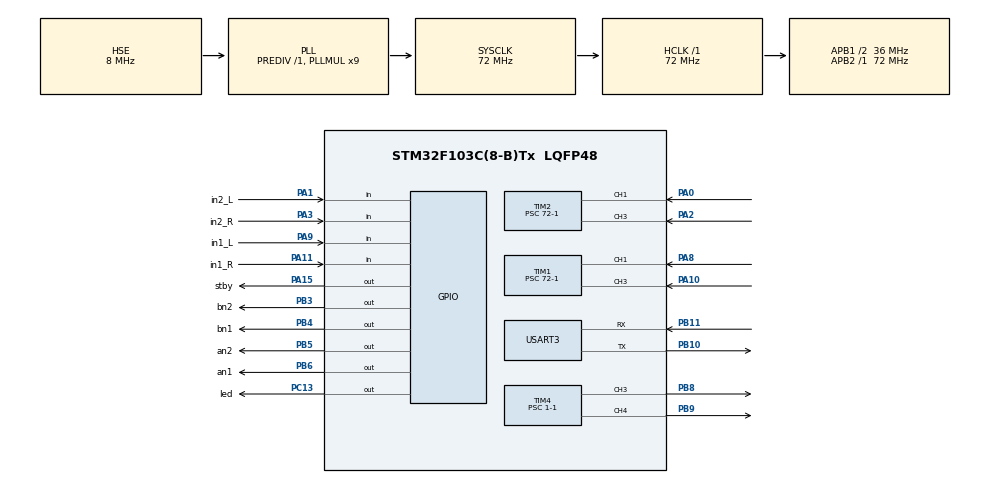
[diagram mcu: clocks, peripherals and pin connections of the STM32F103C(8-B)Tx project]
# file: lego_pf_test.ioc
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Mcu.Family=STM32F1
Mcu.Name=STM32F103C(8-B)Tx
Mcu.Package=LQFP48
NVIC.PriorityGroup=NVIC_PRIORITYGROUP_4
NVIC.TIM1_CC_IRQn=true\:0\:0\:false\:false\:true\:true\:true\:true
NVIC.TIM2_IRQn=true\:0\:0\:false\:false\:true\:true\:true\:true
NVIC.USART3_IRQn=true\:0\:0\:false\:false\:true\:true\:true\:true
PA0-WKUP.Signal=S_TIM2_CH1_ETR
PA1.GPIO_Label=in2_L
PA1.Signal=GPIO_Input
PA10.Signal=S_TIM1_CH3
PA11.GPIO_Label=in1_R
PA11.Signal=GPIO_Input
PA13.Mode=Serial_Wire
PA13.Signal=SYS_JTMS-SWDIO
PA14.Mode=Serial_Wire
PA14.Signal=SYS_JTCK-SWCLK
PA15.GPIO_Label=stby
PA15.Signal=GPIO_Output
PA2.Signal=S_TIM2_CH3
PA3.GPIO_Label=in2_R
PA3.Signal=GPIO_Input
PA8.Signal=S_TIM1_CH1
PA9.GPIO_Label=in1_L
PA9.Signal=GPIO_Input
PB10.Mode=Asynchronous
PB10.Signal=USART3_TX
PB11.Mode=Asynchronous
PB11.Signal=USART3_RX
PB3.GPIO_Label=bn2
PB3.Signal=GPIO_Output
PB4.GPIO_Label=bn1
PB4.Signal=GPIO_Output
PB5.GPIO_Label=an2
PB5.Signal=GPIO_Output
PB6.GPIO_Label=an1
PB6.Signal=GPIO_Output
PB8.Signal=S_TIM4_CH3
PB9.Signal=S_TIM4_CH4
PC13-TAMPER-RTC.GPIO_Label=led
PC13-TAMPER-RTC.Signal=GPIO_Output
PD0-OSC_IN.Mode=HSE-External-Oscillator
PD0-OSC_IN.Signal=RCC_OSC_IN
PD1-OSC_OUT.Mode=HSE-External-Oscillator
PD1-OSC_OUT.Signal=RCC_OSC_OUT
ProjectManager.HeapSize=0x200
ProjectManager.StackSize=0x400
ProjectManager.TargetToolchain=STM32CubeIDE
RCC.ADCPresc=RCC_ADCPCLK2_DIV6
RCC.AHBFreq_Value=72000000
RCC.APB1CLKDivider=RCC_HCLK_DIV2
RCC.APB1Freq_Value=36000000
RCC.APB1TimFreq_Value=72000000
RCC.APB2Freq_Value=72000000
RCC.APB2TimFreq_Value=72000000
RCC.HCLKFreq_Value=72000000
RCC.PLLMUL=RCC_PLL_MUL9
RCC.PLLSourceVirtual=RCC_PLLSOURCE_HSE
RCC.RCC_MCOSource=RCC_MCO1SOURCE_HSE
RCC.SYSCLKFreq_VALUE=72000000
RCC.SYSCLKSource=RCC_SYSCLKSOURCE_PLLCLK
RCC.USBFreq_Value=72000000
SH.S_TIM1_CH1.0=TIM1_CH1,Input_Capture1_from_TI1
SH.S_TIM1_CH3.0=TIM1_CH3,Input_Capture3_from_TI3
SH.S_TIM2_CH1_ETR.0=TIM2_CH1,Input_Capture1_from_TI1
SH.S_TIM2_CH3.0=TIM2_CH3,Input_Capture3_from_TI3
SH.S_TIM4_CH3.0=TIM4_CH3,PWM Generation3 CH3
SH.S_TIM4_CH4.0=TIM4_CH4,PWM Generation4 CH4
TIM1.Channel-Input_Capture1_from_TI1=TIM_CHANNEL_1
TIM1.Channel-Input_Capture2_from_TI1_63=TIM_CHANNEL_2
TIM1.Channel-Input_Capture3_from_TI3=TIM_CHANNEL_3
TIM1.Channel-Input_Capture4_from_TI3_63=TIM_CHANNEL_4
TIM1.ClockDivision=TIM_CLOCKDIVISION_DIV4
TIM1.ICFilter_CH1=15
TIM1.ICFilter_CH3=15
TIM1.ICPolarity_CH1=TIM_INPUTCHANNELPOLARITY_FALLING
TIM1.ICPolarity_CH2=TIM_INPUTCHANNELPOLARITY_RISING
TIM1.ICPolarity_CH3=TIM_INPUTCHANNELPOLARITY_FALLING
TIM1.ICPolarity_CH4=TIM_INPUTCHANNELPOLARITY_RISING
TIM1.ICPrescaler-Input_Capture1_from_TI1=TIM_ICPSC_DIV8
TIM1.ICPrescaler-Input_Capture2_from_TI1_63=TIM_ICPSC_DIV8
TIM1.ICPrescaler-Input_Capture3_from_TI3=TIM_ICPSC_DIV8
TIM1.ICPrescaler-Input_Capture4_from_TI3_63=TIM_ICPSC_DIV8
TIM1.Period=65000-1
TIM1.Prescaler=72-1
TIM2.Channel-Input_Capture1_from_TI1=TIM_CHANNEL_1
TIM2.Channel-Input_Capture2_from_TI1_63=TIM_CHANNEL_2
TIM2.Channel-Input_Capture3_from_TI3=TIM_CHANNEL_3
TIM2.Channel-Input_Capture4_from_TI3_63=TIM_CHANNEL_4
TIM2.ICPolarity_CH2=TIM_INPUTCHANNELPOLARITY_FALLING
TIM2.ICPolarity_CH4=TIM_INPUTCHANNELPOLARITY_FALLING
TIM2.Period=65000-1
TIM2.Prescaler=72-1
TIM4.Channel-PWM\ Generation3\ CH3=TIM_CHANNEL_3
TIM4.Channel-PWM\ Generation4\ CH4=TIM_CHANNEL_4
TIM4.Period=62608-1
TIM4.Prescaler=1-1
USART3.VirtualMode=VM_ASYNC
VP_TIM1_VS_ClockSourceINT.Mode=Internal
VP_TIM1_VS_indirect_ch1.Mode=Input_Capture2_from_TI1_63
VP_TIM1_VS_indirect_ch3.Mode=Input_Capture4_from_TI3_63
VP_TIM2_VS_ClockSourceINT.Mode=Internal
VP_TIM2_VS_indirect_ch1.Mode=Input_Capture2_from_TI1_63
VP_TIM2_VS_indirect_ch3.Mode=Input_Capture4_from_TI3_63
VP_TIM4_VS_ClockSourceINT.Mode=Internal
board=custom

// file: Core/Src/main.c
/* USER CODE BEGIN Header */
/**
  ******************************************************************************
  * @file           : main.c
  * @brief          : Main program body
  ******************************************************************************
  * @attention
  *
  * Copyright (c) 2024 STMicroelectronics.
  * All rights reserved.
  *
  * This software is licensed under terms that can be found in the LICENSE file
  * in the root directory of this software component.
  * If no LICENSE file comes with this software, it is provided AS-IS.
  *
  ******************************************************************************
  */
/* USER CODE END Header */
#include "main.h"

/* USER CODE BEGIN Includes */
#include "stdlib.h" // abs()
#include "stdio.h"  // snprintf()
#include "string.h" // strlen()
/* USER CODE END Includes */

/* USER CODE BEGIN PTD */
typedef void (*transition_callback)(void);

typedef enum {
    HIGH,
	PWM,
	LOW
} STATE_PWM_PIN;

typedef struct {
    transition_callback worker;
} TRANSITION;
/* USER CODE END PTD */

/* USER CODE BEGIN PD */
#define PERIOD_MAX (htim4.Init.Period)
#define size_arr (1)                  //pwm   in arr
/* USER CODE END PD */

TIM_HandleTypeDef htim1;
TIM_HandleTypeDef htim2;
TIM_HandleTypeDef htim4;

UART_HandleTypeDef huart3;

/* USER CODE BEGIN PV */
/*
volatile uint8_t flag_irq = 0; //button exti
volatile uint32_t time_irq = 0;//button exti
volatile uint8_t flag_read = 0;//button exti
void button_hnd(void);         //button
*/

uint8_t dataReceived=0;    //uart признак данное получено
uint8_t dataTransmitted=1; //uart признак данное передано
uint8_t str_uart_buffer[3];//uart buffer

volatile uint32_t falling1_R = 0; //pwm R in
volatile uint32_t falling1_L = 0; //pwm L in
uint32_t falling_buffer = 0;
uint32_t pwm_old = 0;

uint8_t counter1_R = 0;
uint8_t counter1_L = 0;
uint32_t arr_falling1_R = 0;
uint32_t arr_falling1_L = 0;

volatile uint8_t flag_pwm1_R = 0;
volatile uint8_t flag_pwm1_L = 0;
volatile uint32_t last_capture_time1_R = 0;
volatile uint32_t last_capture_time1_L = 0;

STATE_PWM_PIN statepwm1_R = LOW;
STATE_PWM_PIN statepwm1_L = LOW;

/* USER CODE END PV */

void SystemClock_Config(void);
static void MX_GPIO_Init(void);
static void MX_TIM1_Init(void);
static void MX_TIM2_Init(void);
static void MX_USART3_UART_Init(void);
static void MX_TIM4_Init(void);
/* USER CODE BEGIN PFP */

//inits begin
void led_init(void);
void all_led_on(void);
void all_led_off(void);
void driver_motor1_ports_init();
void tim1_for_motor1_ports_init();
//inits end

//main handles begin
void hnd_state_for_motor1(void);
//main handlers end

//hnd_state_for_motor begin
STATE_PWM_PIN hnd_state_in_pwm_R(void);
STATE_PWM_PIN hnd_state_in_pwm_L(void);
STATE_PWM_PIN hnd_state_in_pwm_i(
		GPIO_PinState state, STATE_PWM_PIN *statepwm,
		volatile uint8_t *flag_pwm, volatile uint32_t last_capture_time,
		char type);
void led_state_pwm(STATE_PWM_PIN *statepwm, char type);

void hal_tim_set_compare(uint16_t pwm);
void enable_R(void);
void enable_L(void);
uint16_t falling_to_pwm(volatile uint32_t falling, char *type);

void state_zero(void);
void state_PWM_L(void);
void state_MAX_L(void);
void state_PWM_R(void);
void state_MAX_R(void);

TRANSITION FSM_table[3][3] = {
   //LEFT//RIGHT//
    [HIGH][HIGH] = {state_zero},
    [HIGH][PWM]  = {state_PWM_R},
    [HIGH][LOW]  = {state_MAX_R},
    [PWM][HIGH]  = {state_PWM_L},
    [LOW][HIGH]  = {state_MAX_L},
	//
    [PWM][PWM] = {NULL},
    [PWM][LOW] = {NULL},
    [LOW][PWM] = {NULL},
    [LOW][LOW] = {NULL}
    //
};
//hnd_state_for_motor end

void fill_arr(uint8_t *counter, uint32_t *arr_falling, volatile uint32_t *falling, uint32_t falling0, char *type);

void print_uniq_uart_data(volatile uint32_t falling, char *str);
void print_uart_data(volatile uint32_t falling, char *str);
/* USER CODE END PFP */

/* USER CODE BEGIN 0 */

void led_init(void) {
	char str1[7] = "\nINIT;\n";
    HAL_UART_Transmit(&huart3, (uint8_t*)str1, strlen(str1), 1000);

    all_led_on();
    HAL_Delay(1000);
    all_led_off();
}

void all_led_on(void) {
	HAL_GPIO_WritePin(led_GPIO_Port, led_Pin, GPIO_PIN_RESET); //revers t.k pc13
	HAL_GPIO_WritePin(led1_GPIO_Port, led1_Pin, GPIO_PIN_SET);
	HAL_GPIO_WritePin(led2_GPIO_Port, led2_Pin, GPIO_PIN_SET);
	HAL_GPIO_WritePin(led3_GPIO_Port, led3_Pin, GPIO_PIN_SET);
	HAL_GPIO_WritePin(led4_GPIO_Port, led4_Pin, GPIO_PIN_SET);
}

void all_led_off(void) {
	HAL_GPIO_WritePin(led_GPIO_Port, led_Pin, GPIO_PIN_SET); //revers t.k pc13
	HAL_GPIO_WritePin(led1_GPIO_Port, led1_Pin, GPIO_PIN_RESET);
	HAL_GPIO_WritePin(led2_GPIO_Port, led2_Pin, GPIO_PIN_RESET);
	HAL_GPIO_WritePin(led3_GPIO_Port, led3_Pin, GPIO_PIN_RESET);
	HAL_GPIO_WritePin(led4_GPIO_Port, led4_Pin, GPIO_PIN_RESET);
}

void driver_motor1_ports_init() {
	  HAL_TIM_PWM_Start(&htim4, TIM_CHANNEL_1);
	  HAL_GPIO_WritePin(an1_GPIO_Port, an1_Pin, GPIO_PIN_RESET);
	  HAL_GPIO_WritePin(an2_GPIO_Port, an2_Pin, GPIO_PIN_RESET);
	  HAL_GPIO_WritePin(stby_GPIO_Port, stby_Pin, GPIO_PIN_RESET);
}

void tim1_for_motor1_ports_init() {
	  HAL_TIM_IC_Start_IT(&htim1, TIM_CHANNEL_1);
	  HAL_TIM_IC_Start_IT(&htim1, TIM_CHANNEL_2);
	  HAL_TIM_IC_Start_IT(&htim1, TIM_CHANNEL_3);
	  HAL_TIM_IC_Start_IT(&htim1, TIM_CHANNEL_4);
}

/* USER CODE END 0 */

int main(void)
{

  /* MCU Configuration--------------------------------------------------------*/

  /* Reset of all peripherals, Initializes the Flash interface and the Systick. */
  HAL_Init();

  /* Configure the system clock */
  SystemClock_Config();

  /* Initialize all configured peripherals */
  MX_GPIO_Init();
  MX_TIM1_Init();
  MX_TIM2_Init();
  MX_USART3_UART_Init();
  MX_TIM4_Init();
  /* USER CODE BEGIN 2 */
  led_init();
  driver_motor1_ports_init();
  tim1_for_motor1_ports_init();
  /* USER CODE END 2 */

  /* Infinite loop */
  /* USER CODE BEGIN WHILE */
  while (1)
  {
	  hnd_state_for_motor1();
    /* USER CODE END WHILE */

    /* USER CODE BEGIN 3 */
	  //button_hnd();
	  HAL_Delay(2);
  }
  /* USER CODE END 3 */
}

void SystemClock_Config(void)
{
  RCC_OscInitTypeDef RCC_OscInitStruct = {0};
  RCC_ClkInitTypeDef RCC_ClkInitStruct = {0};

  /** Initializes the RCC Oscillators according to the specified parameters
  * in the RCC_OscInitTypeDef structure.
  */
  RCC_OscInitStruct.OscillatorType = RCC_OSCILLATORTYPE_HSE;
  RCC_OscInitStruct.HSEState = RCC_HSE_ON;
  RCC_OscInitStruct.HSEPredivValue = RCC_HSE_PREDIV_DIV1;
  RCC_OscInitStruct.HSIState = RCC_HSI_ON;
  RCC_OscInitStruct.PLL.PLLState = RCC_PLL_ON;
  RCC_OscInitStruct.PLL.PLLSource = RCC_PLLSOURCE_HSE;
  RCC_OscInitStruct.PLL.PLLMUL = RCC_PLL_MUL9;
  if (HAL_RCC_OscConfig(&RCC_OscInitStruct) != HAL_OK)
  {
    Error_Handler();
  }

  /** Initializes the CPU, AHB and APB buses clocks
  */
  RCC_ClkInitStruct.ClockType = RCC_CLOCKTYPE_HCLK|RCC_CLOCKTYPE_SYSCLK
                              |RCC_CLOCKTYPE_PCLK1|RCC_CLOCKTYPE_PCLK2;
  RCC_ClkInitStruct.SYSCLKSource = RCC_SYSCLKSOURCE_PLLCLK;
  RCC_ClkInitStruct.AHBCLKDivider = RCC_SYSCLK_DIV1;
  RCC_ClkInitStruct.APB1CLKDivider = RCC_HCLK_DIV2;
  RCC_ClkInitStruct.APB2CLKDivider = RCC_HCLK_DIV1;

  if (HAL_RCC_ClockConfig(&RCC_ClkInitStruct, FLASH_LATENCY_2) != HAL_OK)
  {
    Error_Handler();
  }
}

static void MX_TIM1_Init(void)
{

  TIM_ClockConfigTypeDef sClockSourceConfig = {0};
  TIM_MasterConfigTypeDef sMasterConfig = {0};
  TIM_IC_InitTypeDef sConfigIC = {0};

  htim1.Instance = TIM1;
  htim1.Init.Prescaler = 72-1;
  htim1.Init.CounterMode = TIM_COUNTERMODE_UP;
  htim1.Init.Period = 65000-1;
  htim1.Init.ClockDivision = TIM_CLOCKDIVISION_DIV4;
  htim1.Init.RepetitionCounter = 0;
  htim1.Init.AutoReloadPreload = TIM_AUTORELOAD_PRELOAD_DISABLE;
  if (HAL_TIM_Base_Init(&htim1) != HAL_OK)
  {
    Error_Handler();
  }
  sClockSourceConfig.ClockSource = TIM_CLOCKSOURCE_INTERNAL;
  if (HAL_TIM_ConfigClockSource(&htim1, &sClockSourceConfig) != HAL_OK)
  {
    Error_Handler();
  }
  if (HAL_TIM_IC_Init(&htim1) != HAL_OK)
  {
    Error_Handler();
  }
  sMasterConfig.MasterOutputTrigger = TIM_TRGO_RESET;
  sMasterConfig.MasterSlaveMode = TIM_MASTERSLAVEMODE_DISABLE;
  if (HAL_TIMEx_MasterConfigSynchronization(&htim1, &sMasterConfig) != HAL_OK)
  {
    Error_Handler();
  }
  sConfigIC.ICPolarity = TIM_INPUTCHANNELPOLARITY_FALLING;
  sConfigIC.ICSelection = TIM_ICSELECTION_DIRECTTI;
  sConfigIC.ICPrescaler = TIM_ICPSC_DIV8;
  sConfigIC.ICFilter = 15;
  if (HAL_TIM_IC_ConfigChannel(&htim1, &sConfigIC, TIM_CHANNEL_1) != HAL_OK)
  {
    Error_Handler();
  }
  sConfigIC.ICPolarity = TIM_INPUTCHANNELPOLARITY_RISING;
  sConfigIC.ICSelection = TIM_ICSELECTION_INDIRECTTI;
  sConfigIC.ICFilter = 0;
  if (HAL_TIM_IC_ConfigChannel(&htim1, &sConfigIC, TIM_CHANNEL_2) != HAL_OK)
  {
    Error_Handler();
  }
  sConfigIC.ICPolarity = TIM_INPUTCHANNELPOLARITY_FALLING;
  sConfigIC.ICSelection = TIM_ICSELECTION_DIRECTTI;
  sConfigIC.ICFilter = 15;
  if (HAL_TIM_IC_ConfigChannel(&htim1, &sConfigIC, TIM_CHANNEL_3) != HAL_OK)
  {
    Error_Handler();
  }
  sConfigIC.ICPolarity = TIM_INPUTCHANNELPOLARITY_RISING;
  sConfigIC.ICSelection = TIM_ICSELECTION_INDIRECTTI;
  sConfigIC.ICFilter = 0;
  if (HAL_TIM_IC_ConfigChannel(&htim1, &sConfigIC, TIM_CHANNEL_4) != HAL_OK)
  {
    Error_Handler();
  }

}

static void MX_TIM2_Init(void)
{

  TIM_ClockConfigTypeDef sClockSourceConfig = {0};
  TIM_MasterConfigTypeDef sMasterConfig = {0};
  TIM_IC_InitTypeDef sConfigIC = {0};

  htim2.Instance = TIM2;
  htim2.Init.Prescaler = 72-1;
  htim2.Init.CounterMode = TIM_COUNTERMODE_UP;
  htim2.Init.Period = 65000-1;
  htim2.Init.ClockDivision = TIM_CLOCKDIVISION_DIV1;
  htim2.Init.AutoReloadPreload = TIM_AUTORELOAD_PRELOAD_DISABLE;
  if (HAL_TIM_Base_Init(&htim2) != HAL_OK)
  {
    Error_Handler();
  }
  sClockSourceConfig.ClockSource = TIM_CLOCKSOURCE_INTERNAL;
  if (HAL_TIM_ConfigClockSource(&htim2, &sClockSourceConfig) != HAL_OK)
  {
    Error_Handler();
  }
  if (HAL_TIM_IC_Init(&htim2) != HAL_OK)
  {
    Error_Handler();
  }
  sMasterConfig.MasterOutputTrigger = TIM_TRGO_RESET;
  sMasterConfig.MasterSlaveMode = TIM_MASTERSLAVEMODE_DISABLE;
  if (HAL_TIMEx_MasterConfigSynchronization(&htim2, &sMasterConfig) != HAL_OK)
  {
    Error_Handler();
  }
  sConfigIC.ICPolarity = TIM_INPUTCHANNELPOLARITY_RISING;
  sConfigIC.ICSelection = TIM_ICSELECTION_DIRECTTI;
  sConfigIC.ICPrescaler = TIM_ICPSC_DIV1;
  sConfigIC.ICFilter = 0;
  if (HAL_TIM_IC_ConfigChannel(&htim2, &sConfigIC, TIM_CHANNEL_1) != HAL_OK)
  {
    Error_Handler();
  }
  sConfigIC.ICPolarity = TIM_INPUTCHANNELPOLARITY_FALLING;
  sConfigIC.ICSelection = TIM_ICSELECTION_INDIRECTTI;
  if (HAL_TIM_IC_ConfigChannel(&htim2, &sConfigIC, TIM_CHANNEL_2) != HAL_OK)
  {
    Error_Handler();
  }
  sConfigIC.ICPolarity = TIM_INPUTCHANNELPOLARITY_RISING;
  sConfigIC.ICSelection = TIM_ICSELECTION_DIRECTTI;
  if (HAL_TIM_IC_ConfigChannel(&htim2, &sConfigIC, TIM_CHANNEL_3) != HAL_OK)
  {
    Error_Handler();
  }
  sConfigIC.ICPolarity = TIM_INPUTCHANNELPOLARITY_FALLING;
  sConfigIC.ICSelection = TIM_ICSELECTION_INDIRECTTI;
  if (HAL_TIM_IC_ConfigChannel(&htim2, &sConfigIC, TIM_CHANNEL_4) != HAL_OK)
  {
    Error_Handler();
  }

}

static void MX_TIM4_Init(void)
{

  TIM_ClockConfigTypeDef sClockSourceConfig = {0};
  TIM_MasterConfigTypeDef sMasterConfig = {0};
  TIM_OC_InitTypeDef sConfigOC = {0};

  htim4.Instance = TIM4;
  htim4.Init.Prescaler = 1-1;
  htim4.Init.CounterMode = TIM_COUNTERMODE_UP;
  htim4.Init.Period = 62608-1;
  htim4.Init.ClockDivision = TIM_CLOCKDIVISION_DIV1;
  htim4.Init.AutoReloadPreload = TIM_AUTORELOAD_PRELOAD_DISABLE;
  if (HAL_TIM_Base_Init(&htim4) != HAL_OK)
  {
    Error_Handler();
  }
  sClockSourceConfig.ClockSource = TIM_CLOCKSOURCE_INTERNAL;
  if (HAL_TIM_ConfigClockSource(&htim4, &sClockSourceConfig) != HAL_OK)
  {
    Error_Handler();
  }
  if (HAL_TIM_PWM_Init(&htim4) != HAL_OK)
  {
    Error_Handler();
  }
  sMasterConfig.MasterOutputTrigger = TIM_TRGO_RESET;
  sMasterConfig.MasterSlaveMode = TIM_MASTERSLAVEMODE_DISABLE;
  if (HAL_TIMEx_MasterConfigSynchronization(&htim4, &sMasterConfig) != HAL_OK)
  {
    Error_Handler();
  }
  sConfigOC.OCMode = TIM_OCMODE_PWM1;
  sConfigOC.Pulse = 0;
  sConfigOC.OCPolarity = TIM_OCPOLARITY_HIGH;
  sConfigOC.OCFastMode = TIM_OCFAST_DISABLE;
  if (HAL_TIM_PWM_ConfigChannel(&htim4, &sConfigOC, TIM_CHANNEL_3) != HAL_OK)
  {
    Error_Handler();
  }
  if (HAL_TIM_PWM_ConfigChannel(&htim4, &sConfigOC, TIM_CHANNEL_4) != HAL_OK)
  {
    Error_Handler();
  }
  HAL_TIM_MspPostInit(&htim4);

}

static void MX_USART3_UART_Init(void)
{

  huart3.Instance = USART3;
  huart3.Init.BaudRate = 115200;
  huart3.Init.WordLength = UART_WORDLENGTH_8B;
  huart3.Init.StopBits = UART_STOPBITS_1;
  huart3.Init.Parity = UART_PARITY_NONE;
  huart3.Init.Mode = UART_MODE_TX_RX;
  huart3.Init.HwFlowCtl = UART_HWCONTROL_NONE;
  huart3.Init.OverSampling = UART_OVERSAMPLING_16;
  if (HAL_UART_Init(&huart3) != HAL_OK)
  {
    Error_Handler();
  }

}

static void MX_GPIO_Init(void)
{
  GPIO_InitTypeDef GPIO_InitStruct = {0};

  /* GPIO Ports Clock Enable */
  __HAL_RCC_GPIOC_CLK_ENABLE();
  __HAL_RCC_GPIOD_CLK_ENABLE();
  __HAL_RCC_GPIOA_CLK_ENABLE();
  __HAL_RCC_GPIOB_CLK_ENABLE();

  /*Configure GPIO pin Output Level */
  HAL_GPIO_WritePin(led_GPIO_Port, led_Pin, GPIO_PIN_RESET);

  /*Configure GPIO pin Output Level */
  HAL_GPIO_WritePin(bn2_GPIO_Port, bn2_Pin, GPIO_PIN_RESET);

  /*Configure GPIO pin Output Level */
  HAL_GPIO_WritePin(GPIOB, bn1_Pin|an2_Pin|an1_Pin|stby_Pin, GPIO_PIN_RESET);

  /*Configure GPIO pin : led_Pin */
  GPIO_InitStruct.Pin = led_Pin;
  GPIO_InitStruct.Mode = GPIO_MODE_OUTPUT_PP;
  GPIO_InitStruct.Pull = GPIO_NOPULL;
  GPIO_InitStruct.Speed = GPIO_SPEED_FREQ_LOW;
  HAL_GPIO_Init(led_GPIO_Port, &GPIO_InitStruct);

  /*Configure GPIO pins : in2_L_Pin in2_R_Pin in1_L_Pin in1_R_Pin */
  GPIO_InitStruct.Pin = in2_L_Pin|in2_R_Pin|in1_L_Pin|in1_R_Pin;
  GPIO_InitStruct.Mode = GPIO_MODE_INPUT;
  GPIO_InitStruct.Pull = GPIO_NOPULL;
  HAL_GPIO_Init(GPIOA, &GPIO_InitStruct);

  /*Configure GPIO pin : bn2_Pin */
  GPIO_InitStruct.Pin = bn2_Pin;
  GPIO_InitStruct.Mode = GPIO_MODE_OUTPUT_PP;
  GPIO_InitStruct.Pull = GPIO_NOPULL;
  GPIO_InitStruct.Speed = GPIO_SPEED_FREQ_LOW;
  HAL_GPIO_Init(bn2_GPIO_Port, &GPIO_InitStruct);

  /*Configure GPIO pins : bn1_Pin an2_Pin an1_Pin stby_Pin */
  GPIO_InitStruct.Pin = bn1_Pin|an2_Pin|an1_Pin|stby_Pin;
  GPIO_InitStruct.Mode = GPIO_MODE_OUTPUT_PP;
  GPIO_InitStruct.Pull = GPIO_NOPULL;
  GPIO_InitStruct.Speed = GPIO_SPEED_FREQ_LOW;
  HAL_GPIO_Init(GPIOB, &GPIO_InitStruct);

}

/* USER CODE BEGIN 4 */
void HAL_UART_RxCpltCallback(UART_HandleTypeDef *huart) {

  if (huart == &huart3) {
    dataReceived=1;

    if (dataTransmitted != 0) {
      HAL_UART_Transmit_IT(&huart3, str_uart_buffer, 1);
      dataReceived=0;
      dataTransmitted=0;
    }

    HAL_UART_Receive_IT (&huart3, str_uart_buffer, 1);
  }
}

void HAL_UART_TxCpltCallback(UART_HandleTypeDef *huart) {

  if (huart == &huart3) {
    dataTransmitted=1;

    if (dataReceived != 0) {
      HAL_UART_Transmit_IT(&huart3, str_uart_buffer, 1);
      dataReceived=0;
      dataTransmitted=0;
    }
  }
}

/*
void HAL_GPIO_EXTI_Callback(uint16_t GPIO_Pin) {
	if(GPIO_Pin == button_Pin && !flag_irq) {
		HAL_NVIC_DisableIRQ(EXTI15_10_IRQn); // сразу же отключаем прерывания на этом пине
		// либо выполняем какое-то действие прямо тут, либо поднимаем флажок
		flag_irq = 1;
		time_irq = HAL_GetTick();
		HAL_GPIO_WritePin(led_GPIO_Port, led_Pin, GPIO_PIN_RESET);
		if (!flag_read) HAL_UART_Transmit(&huart3, (uint8_t*) "read mode ON\n", strlen( "read mode ON\n" ), 1000);
		else HAL_UART_Transmit(&huart3, (uint8_t*) "read mode OFF\n", strlen( "read mode OFF\n" ), 1000);
	}
}

void button_hnd(void) {
	if (flag_irq && ((HAL_GetTick() - time_irq) > 200)) {
		__HAL_GPIO_EXTI_CLEAR_IT(button_Pin);  // очищаем бит EXTI_PR
		NVIC_ClearPendingIRQ(EXTI15_10_IRQn); // очищаем бит NVIC_ICPRx
		HAL_NVIC_EnableIRQ(EXTI15_10_IRQn);   // включаем внешнее прерывание
		flag_irq = 0;
		flag_read = !flag_read;

		HAL_GPIO_WritePin(led_GPIO_Port, led_Pin, GPIO_PIN_SET);
	}
	if (flag_read) HAL_GPIO_WritePin(led_GPIO_Port, led_Pin, GPIO_PIN_RESET);
}
*/

void hnd_state_for_motor1(void) {
	STATE_PWM_PIN current_state_R = hnd_state_in_pwm_R();
	STATE_PWM_PIN current_state_L = hnd_state_in_pwm_L();
	transition_callback worker = FSM_table[current_state_L][current_state_R].worker;
	if (worker != NULL) {
		worker();
	}
}

STATE_PWM_PIN hnd_state_in_pwm_R(void) {
	GPIO_PinState stateR = HAL_GPIO_ReadPin(in1_R_GPIO_Port, in1_R_Pin);
	return hnd_state_in_pwm_i(
			stateR, &statepwm1_R,
			&flag_pwm1_R, last_capture_time1_R,
			'R');
}

STATE_PWM_PIN hnd_state_in_pwm_L(void) {
	GPIO_PinState stateL = HAL_GPIO_ReadPin(in1_L_GPIO_Port, in1_L_Pin);
	return hnd_state_in_pwm_i(
			stateL, &statepwm1_L,
			&flag_pwm1_L, last_capture_time1_L,
			'L');
}

STATE_PWM_PIN hnd_state_in_pwm_i(
		GPIO_PinState state, STATE_PWM_PIN *statepwm,
		volatile uint8_t *flag_pwm, volatile uint32_t last_capture_time,
		char type) {

    uint32_t current_time = HAL_GetTick();
    // Если прошло больше 5 мс с последнего захвата фронта - считаем, что Ш�?М отсутствует
    if (*flag_pwm == 1 && (current_time - last_capture_time > 50  )) {
    	*flag_pwm = 0; // Ш�?М отсутствует
    }

	if (*flag_pwm) *statepwm = PWM;
	else *statepwm = (state == GPIO_PIN_SET) ? HIGH : LOW;

	led_state_pwm(statepwm, type);

	return *statepwm;
}

void led_state_pwm(STATE_PWM_PIN *statepwm, char type) {
	switch(*statepwm) {
	    case HIGH: {
	    	switch (type) {
				case 'L': {
			    	HAL_GPIO_WritePin(led1_GPIO_Port, led1_Pin, GPIO_PIN_SET);
			    	HAL_GPIO_WritePin(led2_GPIO_Port, led2_Pin, GPIO_PIN_RESET);
				}
				break;
				case 'R': {
			    	HAL_GPIO_WritePin(led3_GPIO_Port, led3_Pin, GPIO_PIN_SET);
		            HAL_GPIO_WritePin(led4_GPIO_Port, led4_Pin, GPIO_PIN_RESET);
				}
				break;
			}

	    }
	    break;
	    case PWM: {
	    	switch (type) {
				case 'L': {
			    	HAL_GPIO_WritePin(led1_GPIO_Port, led1_Pin, GPIO_PIN_RESET);
			    	HAL_GPIO_WritePin(led2_GPIO_Port, led2_Pin, GPIO_PIN_SET);
				}
				break;
				case 'R': {
			    	HAL_GPIO_WritePin(led3_GPIO_Port, led3_Pin, GPIO_PIN_RESET);
		            HAL_GPIO_WritePin(led4_GPIO_Port, led4_Pin, GPIO_PIN_SET);
				}
				break;
			}

	    }
	    break;
	    case LOW: {
	    	switch (type) {
				case 'L': {
			    	HAL_GPIO_WritePin(led1_GPIO_Port, led1_Pin, GPIO_PIN_SET);
			    	HAL_GPIO_WritePin(led2_GPIO_Port, led2_Pin, GPIO_PIN_SET);
				}
				break;
				case 'R': {
			    	HAL_GPIO_WritePin(led3_GPIO_Port, led3_Pin, GPIO_PIN_SET);
		            HAL_GPIO_WritePin(led4_GPIO_Port, led4_Pin, GPIO_PIN_SET);
				}
				break;
			}

	    }
	    break;
	}
}

void hal_tim_set_compare(uint16_t pwm) {
	__HAL_TIM_SET_COMPARE(&htim4, TIM_CHANNEL_1, pwm);
}

void state_zero(void) {
	HAL_GPIO_WritePin(stby_GPIO_Port, stby_Pin, GPIO_PIN_RESET);
	HAL_GPIO_WritePin(an1_GPIO_Port, an1_Pin, GPIO_PIN_RESET);
	HAL_GPIO_WritePin(an2_GPIO_Port, an2_Pin, GPIO_PIN_RESET);
	hal_tim_set_compare(0);
	//print_uart_data(0, "STATE ZERO");
}

void enable_L(void) {
	HAL_GPIO_WritePin(an1_GPIO_Port, an1_Pin, GPIO_PIN_SET);
	HAL_GPIO_WritePin(an2_GPIO_Port, an2_Pin, GPIO_PIN_RESET);
	HAL_GPIO_WritePin(stby_GPIO_Port, stby_Pin, GPIO_PIN_SET);
}

void enable_R(void) {
	HAL_GPIO_WritePin(an1_GPIO_Port, an1_Pin, GPIO_PIN_RESET);
	HAL_GPIO_WritePin(an2_GPIO_Port, an2_Pin, GPIO_PIN_SET);
	HAL_GPIO_WritePin(stby_GPIO_Port, stby_Pin, GPIO_PIN_SET);
}

void state_MAX_L(void) {
	enable_L();
	hal_tim_set_compare(PERIOD_MAX);
	//print_uart_data(0, "STATE L MAX");
}

void state_MAX_R(void) {
	enable_R();
	hal_tim_set_compare(PERIOD_MAX);
	//print_uart_data(0, "STATE R MAX");
}

void state_PWM_L(void) {
	enable_L();
	uint16_t pwm1 = falling_to_pwm(falling1_L, "STATE L PWM");
	hal_tim_set_compare(pwm1);
}

void state_PWM_R(void) {
	enable_R();
	uint16_t pwm1 = falling_to_pwm(falling1_R, "STATE R PWM");
	hal_tim_set_compare(pwm1);
}

uint16_t falling_to_pwm(volatile uint32_t falling, char *type) {
	uint16_t pwm1 = pwm_old;

	print_uart_data(falling, type);
    //print_uniq_uart_data(falling, type);

	switch (falling) {
		case 500: {
			pwm1 = PERIOD_MAX * 266 / 1000;
			pwm_old = pwm1;
		}
			break;
		case 700: {}
		case 800: {
			pwm1 = PERIOD_MAX * 389 / 1000;
			pwm_old = pwm1;
		}
			break;
		case 1000: {
			pwm1 = PERIOD_MAX * 512 / 1000;
			pwm_old = pwm1;
		}
			break;
		case 1300: {
			pwm1 = PERIOD_MAX * 630 / 1000;
			pwm_old = pwm1;
		}
			break;
		case 1500: {
			pwm1 = PERIOD_MAX * 750 / 1000;
			pwm_old = pwm1;
		}
			break;
		case 1800: {
			pwm1 = PERIOD_MAX * 872 / 1000;
			pwm_old = pwm1;
		}
			break;
		default: pwm1 = pwm_old;
	}
/*
	       if (400 <= falling && falling <= 600) { //500
		pwm1 = PERIOD_MAX * 266 / 1000;
	} else if (600 <= falling && falling <= 800) { //700
		pwm1 = PERIOD_MAX * 389 / 1000;
	} else if (900 <= falling && falling <= 1100) { //1000
		pwm1 = PERIOD_MAX * 512 / 1000;
	} else if (1200 <= falling && falling <= 1400) { //1300
		pwm1 = PERIOD_MAX * 630 / 1000;
	} else if (1400 <= falling && falling <= 1600) { //1500
		pwm1 = PERIOD_MAX * 750 / 1000;
	} else if (1700 <= falling && falling <= 1900) { //1800
		pwm1 = PERIOD_MAX * 872 / 1000;
	}
*/

	return pwm1;
}

void HAL_TIM_IC_CaptureCallback(TIM_HandleTypeDef *htim)
{
	if(htim->Instance == TIM1 ) {
		uint32_t current_time = HAL_GetTick(); // Получаем текущее время в мс

		if(htim->Channel == HAL_TIM_ACTIVE_CHANNEL_1) {
			__HAL_TIM_SET_COUNTER(&htim1, 0x0000);
		}
		if(htim->Channel == HAL_TIM_ACTIVE_CHANNEL_2) {
			//uint32_t falling0
			//fill_arr(&counter1_R, &arr_falling1_R, &falling1_R, falling0, "TIM1  R");

			falling1_R = HAL_TIM_ReadCapturedValue(&htim1, TIM_CHANNEL_2);
	        falling1_R = (falling1_R / 100) * 100;

			//print_uniq_uart_data(falling1_R, "TIM1  R");

            flag_pwm1_R = 1; // Ш�?М обнаружен
            last_capture_time1_R = current_time;
		 }

		if(htim->Channel == HAL_TIM_ACTIVE_CHANNEL_3) {
			__HAL_TIM_SET_COUNTER(&htim1, 0x0000);
		}
		if(htim->Channel == HAL_TIM_ACTIVE_CHANNEL_4) {
			//uint32_t falling0
			//fill_arr(&counter1_L, &arr_falling1_L, &falling1_L, falling0, "TIM1  L");

			falling1_L = HAL_TIM_ReadCapturedValue(&htim1, TIM_CHANNEL_4);
			falling1_L = (falling1_L / 100) * 100;

			//print_uniq_uart_data(falling1_L, "TIM1  L");

            flag_pwm1_L = 1; // Ш�?М обнаружен
            last_capture_time1_L = current_time;
		}

	 }

}

void fill_arr(uint8_t *counter, uint32_t *arr_falling, volatile uint32_t *falling, uint32_t falling0, char *type) {
	//*falling = (falling0 / 100) * 100;
	//print_uniq_uart_data(*falling, type);

	*arr_falling += falling0;
	(*counter)++;
    if (*counter == size_arr) {
        *falling = *arr_falling / size_arr;

        *falling = (*falling / 100) * 100;

        *counter = 0;
        *arr_falling = 0;

        //print_uart_data(*falling, type);
        print_uniq_uart_data(*falling, type);
    }

}

void print_uniq_uart_data(volatile uint32_t falling, char *str) {
	if (falling != falling_buffer) {
		print_uart_data(falling, str);
		falling_buffer = falling;
	}
}

void print_uart_data(volatile uint32_t falling, char *str) {
	char str1[63] = {0,};
    snprintf(str1, 63, "\nResult %s= %lu\n", str, falling);
    HAL_UART_Transmit(&huart3, (uint8_t*)str1, strlen(str1), 1000);
}

/* USER CODE END 4 */

void Error_Handler(void)
{
  __disable_irq();
  while (1)
  {
  }
}
